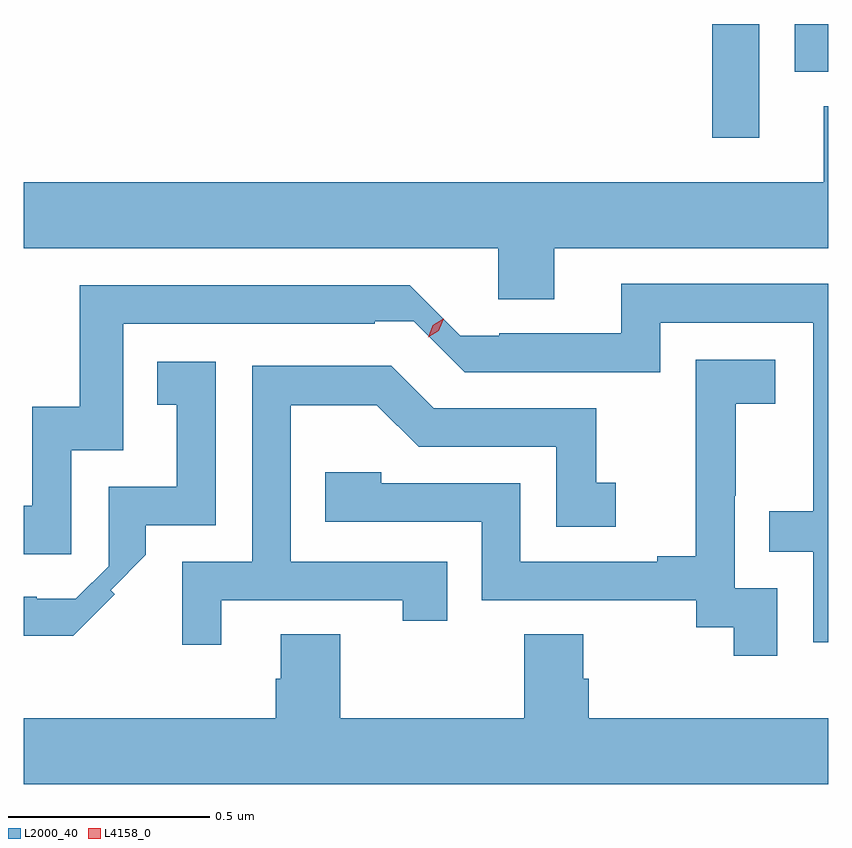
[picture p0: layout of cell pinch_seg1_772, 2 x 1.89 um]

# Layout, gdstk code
import gdstk
lib = gdstk.Library(unit=1e-6, precision=1e-09)
def R(c, l, rs):  # rectangles x0, y0, x1, y1
    for r in rs: c.add(gdstk.rectangle(r[:2], r[2:], *l))
def P(c, l, *ps):  # polygons
    for p in ps: c.add(gdstk.Polygon(p, *l))
L2000_40 = (2000, 40)
L4158_0 = (4158, 0)

pinch_seg1_772 = lib.new_cell('pinch_seg1_772')
R(pinch_seg1_772, L2000_40, [(844.696,516.042,844.812,516.325), (844.901,516.206,844.984,516.325)])
P(pinch_seg1_772, L2000_40, [(844.303,515.768),(844.984,515.768),(844.984,516.121),(844.973,516.121),(844.973,515.932),(842.984,515.932),(842.984,515.768),(844.163,515.768),(844.163,515.641),(844.303,515.641)],
  [(844.984,515.679),(844.469,515.679),(844.469,515.556),(844.166,515.556),(844.166,515.55),(844.069,515.55),(843.943,515.676),(843.123,515.676),(843.123,515.374),(843.005,515.374),(843.005,515.127),(842.984,515.127),(842.984,515.007),(843.102,515.007),(843.102,515.265),(843.231,515.265),(843.231,515.58),(843.857,515.58),(843.857,515.586),(843.954,515.586),(844.08,515.46),(844.566,515.46),(844.566,515.583),(844.947,515.583),(844.947,515.114),(844.837,515.114),(844.837,515.013),(844.947,515.013),(844.947,514.788),(844.984,514.788)],
  [(844.857,514.923),(844.752,514.923),(844.752,515.153),(844.754,515.153),(844.754,515.381),(844.852,515.381),(844.852,515.491),(844.654,515.491),(844.654,515.285),(844.655,515.285),(844.655,515.002),(844.559,515.002),(844.559,514.989),(844.218,514.989),(844.218,515.184),(843.873,515.184),(843.873,515.211),(843.733,515.211),(843.733,515.088),(844.122,515.088),(844.122,514.893),(844.656,514.893),(844.656,514.825),(844.749,514.825),(844.749,514.755),(844.857,514.755)],
  [(843.21,514.908),(843.2,514.918),(843.288,515.006),(843.288,515.079),(843.462,515.079),(843.462,515.485),(843.316,515.485),(843.316,515.379),(843.365,515.379),(843.365,515.175),(843.195,515.175),(843.195,514.977),(843.114,514.896),(843.017,514.896),(843.017,514.902),(842.984,514.902),(842.984,514.805),(843.107,514.805)],
  [(843.475,514.893),(843.926,514.893),(843.926,514.842),(844.037,514.842),(844.037,514.989),(843.648,514.989),(843.648,515.378),(843.862,515.378),(843.966,515.274),(844.308,515.274),(844.308,515.076),(844.456,515.076),(844.456,515.185),(844.407,515.185),(844.407,515.37),(844.003,515.37),(843.898,515.475),(843.552,515.475),(843.552,514.989),(843.378,514.989),(843.378,514.782),(843.475,514.782)],
  [(844.984,514.6),(844.388,514.6),(844.388,514.698),(844.375,514.698),(844.375,514.808),(844.228,514.808),(844.228,514.6),(843.771,514.6),(843.771,514.808),(843.623,514.808),(843.623,514.698),(843.611,514.698),(843.611,514.6),(842.984,514.6),(842.984,514.436),(844.984,514.436)])
P(pinch_seg1_772, L4158_0, [(843.99,515.547),(843.99,515.547),(844.001,515.576),(844.027,515.592),(844.028,515.592),(844.028,515.592),(844.016,515.563),(843.99,515.547)])

lib.write_gds('pinch_seg1_772.gds')
